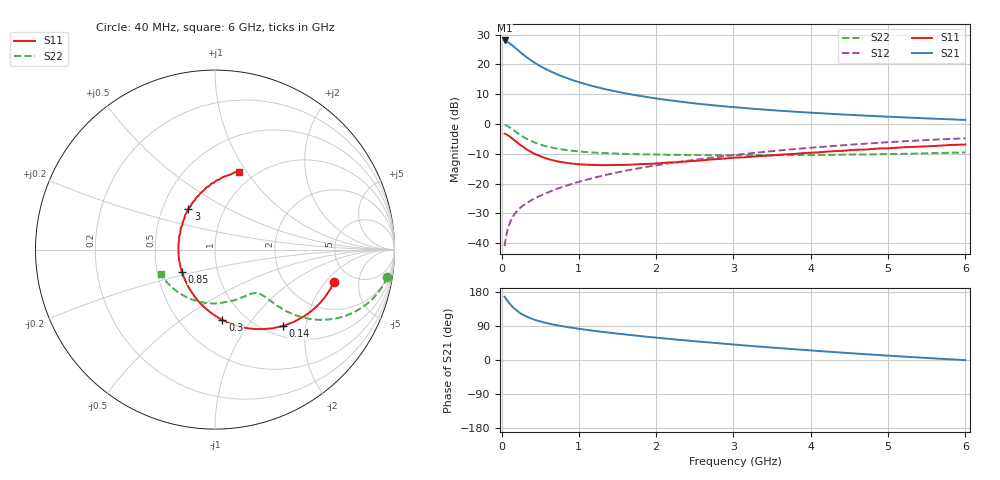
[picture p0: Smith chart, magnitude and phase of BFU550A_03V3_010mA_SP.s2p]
! Filename:  P:\Prog\Test\Noise\ATS_data\Testdata_Net\03 Spar\BFU550A_APG2013_35_C05_03p3V_010mA_SP_CM01_D.s2p
! Date/Time: Tue 16/Apr/2013 15:10:19
! BFU550A_APG2013_35_C05_03p3V_1to35mA_SP_CM01_Bias5_R.s2p
! MDIF S-parameter v. bias file
! BFU530A_APG2013_33_A09_08p0V_015mA_SP_CM01
! Date/time Mon Apr 15 14:22:32 2013
! VAR V_out= 3.3000
! VAR I_out= 10.0050
! VAR V_in= 0.8361
! VAR I_in= 0.1094
! Device data file deembeded for feedlines and parallel
! Original file: \03 Spar\BFU550A_APG2013_35_C05_03p3V_010mA_SP_CM01_R.s2p
! Feed-files: PR017V01_150413_Feed1.s2p, PR017V01_150413_Feed2.s2p
! Parallel-file: PR017V01_150413_Par.s2p
# MHz S MA R 50
!  Freq-MHz  S11-mag  S11-arg  S21-mag  S21-arg  S12-mag  S12-arg  S22-mag  S22-arg
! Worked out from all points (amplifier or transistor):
!   98 points, 40 MHz to 6 GHz, reference 50 ohm
!   highest |S21| = 28.0 dB at 40 MHz (marker M1)
!   |S21| within 3 dB of that: start of sweep to 199.6 MHz
!   unconditionally stable (mu >= 1): 1.283 GHz to 2.279 GHz
!   at 300 MHz: K = 0.62, MSG = 24.9 dB, |S12| = -27.0 dB
!   at 1.6 GHz: K = 1.01, MAG = 12.4 dB, |S12| = -15.7 dB
!   at 6 GHz: K = 0.91, MSG = 3.1 dB, |S12| = -4.8 dB
!   S11 on the Smith chart (normalised r, x): 40 MHz: 3.63, -2.48; 140 MHz: 1.19, -1.50; 300 MHz: 0.79, -0.73; 850 MHz: 0.67, -0.17; 3 GHz: 0.68, +0.33; 6 GHz: 0.84, +0.92
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40  0.6884 -15.2  25.2 167.0  0.008927 83.4  0.9715 -9.1
70  0.6594 -26.0  24.1 158.3  0.01517 78.3  0.9338 -15.6
90  0.6361 -32.8  23.14 152.8  0.01889 75.5  0.9018 -19.4
120  0.5964 -42.4  21.79 145.4  0.02397 72.2  0.8502 -24.2
140  0.5699 -48.3  20.79 141.0  0.02694 70.4  0.8142 -27.0
180  0.5174 -58.9  18.75 133.3  0.03232 67.6  0.7452 -31.5
220  0.4707 -68.2  16.99 126.9  0.03687 66.0  0.685 -34.7
260  0.4292 -76.5  15.37 121.5  0.04099 65.0  0.6327 -37.1
300  0.395 -83.9  13.98 117.0  0.04482 64.6  0.5888 -38.8
380  0.3409 -96.6  11.74 109.8  0.05199 64.4  0.5201 -40.9
440  0.3112 -104.9  10.44 105.4  0.0573 64.7  0.4828 -41.7
500  0.2881 -112.3  9.375 101.8  0.0625 65.1  0.4532 -42.3
650  0.2489 -128.6  7.468 94.5  0.07562 66.1  0.4022 -43.1
850  0.2223 -146.4  5.858 87.0  0.0935 67.0  0.3635 -44.0
1050  0.2093 -161.0  4.819 81.0  0.1119 67.4  0.3423 -45.4
1500  0.2056 172.9  3.473 69.6  0.1543 66.5  0.318 -50.7
2050  0.22 150.5  2.624 58.0  0.2069 63.7  0.3063 -59.8
3000  0.2717 123.2  1.92 40.9  0.3007 56.8  0.2976 -79.4
3100  0.275 120.8  1.872 39.2  0.3108 55.9  0.2985 -81.8
4100  0.3349 100.9  1.522 23.8  0.4095 46.5  0.303 -106.2
5200  0.4068 83.7  1.292 9.1  0.5128 34.9  0.3157 -134.2
6000  0.4527 73.1  1.17 -0.3  0.5751 25.9  0.3326 -155.8
